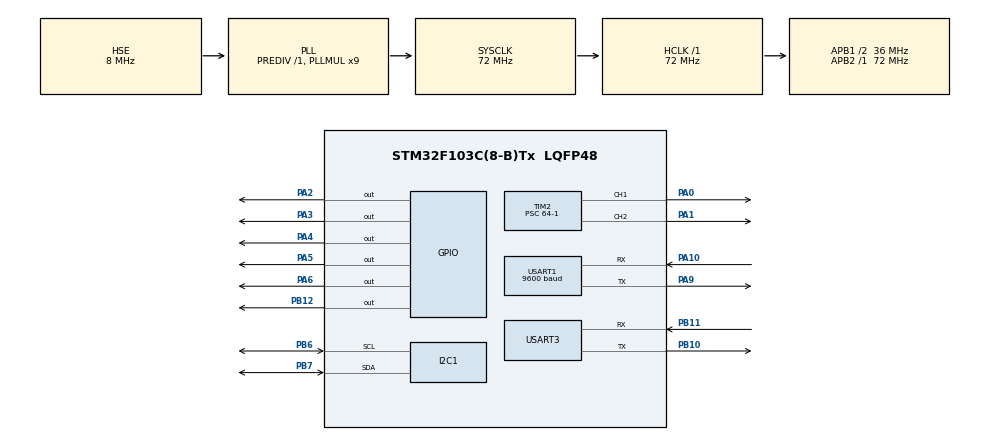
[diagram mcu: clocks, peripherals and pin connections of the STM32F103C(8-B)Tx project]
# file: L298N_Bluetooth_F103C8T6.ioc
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Dma.Request0=USART3_RX
Dma.USART3_RX.0.Direction=DMA_PERIPH_TO_MEMORY
Dma.USART3_RX.0.Instance=DMA1_Channel3
Dma.USART3_RX.0.MemDataAlignment=DMA_MDATAALIGN_BYTE
Dma.USART3_RX.0.MemInc=DMA_MINC_ENABLE
Dma.USART3_RX.0.Mode=DMA_CIRCULAR
Dma.USART3_RX.0.PeriphDataAlignment=DMA_PDATAALIGN_BYTE
Dma.USART3_RX.0.PeriphInc=DMA_PINC_DISABLE
Dma.USART3_RX.0.Priority=DMA_PRIORITY_LOW
Mcu.Family=STM32F1
Mcu.Name=STM32F103C(8-B)Tx
Mcu.Package=LQFP48
NVIC.DMA1_Channel3_IRQn=true\:0\:0\:false\:false\:true\:false\:true\:true
NVIC.PriorityGroup=NVIC_PRIORITYGROUP_4
NVIC.USART1_IRQn=true\:0\:0\:false\:false\:true\:true\:true\:true
PA0-WKUP.Signal=S_TIM2_CH1_ETR
PA1.Signal=S_TIM2_CH2
PA10.Mode=Asynchronous
PA10.Signal=USART1_RX
PA2.Signal=GPIO_Output
PA3.Signal=GPIO_Output
PA4.Signal=GPIO_Output
PA5.Signal=GPIO_Output
PA6.Signal=GPIO_Output
PA9.Mode=Asynchronous
PA9.Signal=USART1_TX
PB10.Mode=Asynchronous
PB10.Signal=USART3_TX
PB11.Mode=Asynchronous
PB11.Signal=USART3_RX
PB12.Signal=GPIO_Output
PB6.Mode=I2C
PB6.Signal=I2C1_SCL
PB7.Mode=I2C
PB7.Signal=I2C1_SDA
PD0-OSC_IN.Mode=HSE-External-Oscillator
PD0-OSC_IN.Signal=RCC_OSC_IN
PD1-OSC_OUT.Mode=HSE-External-Oscillator
PD1-OSC_OUT.Signal=RCC_OSC_OUT
ProjectManager.HeapSize=0x200
ProjectManager.StackSize=0x400
ProjectManager.TargetToolchain=MDK-ARM V5.32
RCC.AHBFreq_Value=72000000
RCC.APB1CLKDivider=RCC_HCLK_DIV2
RCC.APB1Freq_Value=36000000
RCC.APB1TimFreq_Value=72000000
RCC.APB2Freq_Value=72000000
RCC.APB2TimFreq_Value=72000000
RCC.HCLKFreq_Value=72000000
RCC.PLLMUL=RCC_PLL_MUL9
RCC.PLLSourceVirtual=RCC_PLLSOURCE_HSE
RCC.SYSCLKFreq_VALUE=72000000
RCC.SYSCLKSource=RCC_SYSCLKSOURCE_PLLCLK
RCC.USBFreq_Value=72000000
SH.S_TIM2_CH1_ETR.0=TIM2_CH1,PWM Generation1 CH1
SH.S_TIM2_CH2.0=TIM2_CH2,PWM Generation2 CH2
TIM2.Channel-PWM\ Generation1\ CH1=TIM_CHANNEL_1
TIM2.Channel-PWM\ Generation2\ CH2=TIM_CHANNEL_2
TIM2.Period=500-1
TIM2.Prescaler=64-1
USART1.BaudRate=9600
USART1.VirtualMode=VM_ASYNC
USART3.VirtualMode=VM_ASYNC
VP_SYS_VS_ND.Mode=No_Debug
VP_TIM2_VS_ClockSourceINT.Mode=Internal
board=custom

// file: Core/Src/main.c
/* USER CODE BEGIN Header */
/**
  ******************************************************************************
  * @file           : main.c
  * @brief          : Main program body
  ******************************************************************************
  * @attention
  *
  * Copyright (c) 2022 STMicroelectronics.
  * All rights reserved.
  *
  * This software is licensed under terms that can be found in the LICENSE file
  * in the root directory of this software component.
  * If no LICENSE file comes with this software, it is provided AS-IS.
  *
  ******************************************************************************
  */
/* USER CODE END Header */
#include "main.h"

/* USER CODE BEGIN Includes */
#include "lcd16x2_i2c.h"
#include "Fuzzy.h"
#include "Ping_driver.h"
#include "DWT_Delay.h"
#include "L298N_driver.h"
/* USER CODE END Includes */

I2C_HandleTypeDef hi2c1;

TIM_HandleTypeDef htim2;

UART_HandleTypeDef huart1;
UART_HandleTypeDef huart3;
DMA_HandleTypeDef hdma_usart3_rx;

void SystemClock_Config(void);
static void MX_GPIO_Init(void);
static void MX_DMA_Init(void);
static void MX_TIM2_Init(void);
static void MX_USART1_UART_Init(void);
static void MX_USART3_UART_Init(void);
static void MX_I2C1_Init(void);

/* USER CODE BEGIN 0 */

// UART variable
uint8_t rxBuf[1] = {0};
uint8_t data[1] = {0};

// L298N Variable
car_t car;
obstacle_t obs;

// Value PING
double depan, kanan, kiri, value;
Ping_t ping_depan;
Ping_t ping_kanan;
Ping_t ping_kiri;

// Fuzzy
Fuzzy_input_t input_fuzzy;
Fuzzy_output_t output_fuzzy;
Fuzzy_fuzzyfication_t fuz_fic_input;
Fuzzy_fuzzyfication_t fuz_fic_output;
Fuzzy_defuz_t defuzA;
Fuzzy_defuz_t defuzB;
double res_kanan, res_kiri;
bool isKanan = false, isKiri = false;

// UART CALLBACK
void HAL_UART_RxCpltCallback(UART_HandleTypeDef *huart)
{
	if(huart->Instance == USART1){
		if(rxBuf[0] == 'G'){

		}
		else if(rxBuf[0] == 'H'){

		}
		else if(rxBuf[0] == 'I'){

		}
		else if(rxBuf[0] == 'Y'){
			car.tim = &htim2;
			isKanan = true;
			isKiri= false;
		}
		else if(rxBuf[0] == 'X'){
			car.tim = &htim2;
			isKanan = false;
			isKiri = true;
		}
		else if(rxBuf[0] == 'J'){
			NVIC_SystemReset();
			Stopper_run(car);
			HAL_TIM_PWM_Stop(car.tim, TIM_CHANNEL_1);
		}
	}

	HAL_GPIO_TogglePin(GPIOB, GPIO_PIN_12);
  HAL_UART_Receive_IT(&huart1, rxBuf, 1 );
//	HAL_UART_Receive_DMA(&huart3, data, 1 );
}

/* USER CODE END 0 */

int main(void)
{

  /* MCU Configuration--------------------------------------------------------*/

  /* Reset of all peripherals, Initializes the Flash interface and the Systick. */
  HAL_Init();

  /* Configure the system clock */
  SystemClock_Config();

  /* Initialize all configured peripherals */
  MX_GPIO_Init();
  MX_DMA_Init();
  MX_TIM2_Init();
  MX_USART1_UART_Init();
  MX_USART3_UART_Init();
  MX_I2C1_Init();
  /* USER CODE BEGIN 2 */
	//-------------------------------------------- LCD -----------------------------------------------------
	if(lcd16x2_i2c_init(&hi2c1)){
		lcd16x2_i2c_clear();
		lcd16x2_i2c_1stLine();
		lcd16x2_i2c_printf("Baracuda");
	}

	//--------------------------------------- KONFIGURASI PING ---------------------------------------------
	DWT_Delay_Init();
	ping_depan.PING_PORT = GPIOA;
	ping_depan.PING_PIN = GPIO_PIN_7;
	ping_kanan.PING_PORT = GPIOA;
	ping_kanan.PING_PIN = GPIO_PIN_6;
	ping_kiri.PING_PORT = GPIOB;
	ping_kiri.PING_PIN = GPIO_PIN_0;

	//--------------------------------------- KONFIGURASI L298N --------------------------------------------

	car.tim_numA = TIM2;
	car.tim_numB = TIM2;
	car.channelA = 1;
	car.channelB = 2;
	HAL_UART_Receive_IT(&huart1, rxBuf, 1);

	//---------------------------------------- Fuzzy ---------------------------------------------------------
	fuzzy_set_membership_input(&input_fuzzy, 3, 8, 13);
	fuzzy_set_membership_output(&output_fuzzy, -25, 0, 25);

	// ----------------------- TEST -----------------------------------------------
  /* USER CODE END 2 */

  /* Infinite loop */
  /* USER CODE BEGIN WHILE */
   while (1)
  {
		// ----------------------- LCD -----------------------------------------------
		if(!isKanan && !isKiri){
			lcd16x2_i2c_clear();
			lcd16x2_i2c_1stLine();
		}
		else if(isKanan){
			lcd16x2_i2c_clear();
			lcd16x2_i2c_1stLine();
			lcd16x2_i2c_printf("State Kanan");
		}
		else if(isKiri){
			lcd16x2_i2c_clear();
			lcd16x2_i2c_1stLine();
			lcd16x2_i2c_printf("State Kiri");
		}
		else{
			lcd16x2_i2c_clear();
			lcd16x2_i2c_1stLine();
			lcd16x2_i2c_printf("NO STATE!");
		}

		// ---------------------- GET VALUE OF PING -----------------------------------
		kanan = ping_read(ping_kanan);
		kiri = ping_read(ping_kiri);
		depan = ping_read(ping_depan);
		HAL_Delay(70);

		//------------------------- Fuzzy ---------------------------------------------
		fuzzy_fuzfication_input(&input_fuzzy, &fuz_fic_input, kanan);
		fuzzy_logic_rule(&output_fuzzy, &fuz_fic_input, &defuzA, FUZZY_MIN_TO_MAX);
		res_kanan = fuzzy_defuz(&defuzA,&fuz_fic_input);
		fuzzy_fuzfication_input(&input_fuzzy, &fuz_fic_input, kiri);
		fuzzy_logic_rule(&output_fuzzy, &fuz_fic_input, &defuzA, FUZZY_MIN_TO_MAX);
		res_kiri = fuzzy_defuz(&defuzA,&fuz_fic_input);

		// ---------------------- Control the steering --------------------------------
		if(depan < 10){
			Run_Stop();
			Run_Mundur_Speed(car, 40);
			HAL_Delay(500);
			Rotate_Kiri(car, 80);
			HAL_Delay(800);
			Run_Maju_Speed(car, 40);
		}
		// State Kanan
		else if((res_kanan > 0) && isKanan){
			// Ke Kiri
			Run_Maju_Speed_Manual(car, 40 - res_kanan , 40 + res_kanan);
		}
		else if((res_kanan < 0) && isKanan){
			// Ke Kanan
			Run_Maju_Speed_Manual(car, 40 + (res_kanan*-1) , 40 - (res_kanan*-1));
		}
		// State Kiri
		else if((res_kiri > 0) && isKiri){
			// Ke Kanan
			Run_Maju_Speed_Manual(car, 40 + (res_kiri*-1) , 40 - (res_kiri*-1));
		}
		else if((res_kiri < 0) && isKiri){
			// Ke Kiri
			Run_Maju_Speed_Manual(car, 40 - res_kiri , 40 + res_kiri);
		}
		else Run_Maju_Speed_Manual(car, 40, 40);

    /* USER CODE END WHILE */

  }
}

void SystemClock_Config(void)
{
  RCC_OscInitTypeDef RCC_OscInitStruct = {0};
  RCC_ClkInitTypeDef RCC_ClkInitStruct = {0};

  /** Initializes the RCC Oscillators according to the specified parameters
  * in the RCC_OscInitTypeDef structure.
  */
  RCC_OscInitStruct.OscillatorType = RCC_OSCILLATORTYPE_HSE;
  RCC_OscInitStruct.HSEState = RCC_HSE_ON;
  RCC_OscInitStruct.HSEPredivValue = RCC_HSE_PREDIV_DIV1;
  RCC_OscInitStruct.HSIState = RCC_HSI_ON;
  RCC_OscInitStruct.PLL.PLLState = RCC_PLL_ON;
  RCC_OscInitStruct.PLL.PLLSource = RCC_PLLSOURCE_HSE;
  RCC_OscInitStruct.PLL.PLLMUL = RCC_PLL_MUL9;
  if (HAL_RCC_OscConfig(&RCC_OscInitStruct) != HAL_OK)
  {
    Error_Handler();
  }

  /** Initializes the CPU, AHB and APB buses clocks
  */
  RCC_ClkInitStruct.ClockType = RCC_CLOCKTYPE_HCLK|RCC_CLOCKTYPE_SYSCLK
                              |RCC_CLOCKTYPE_PCLK1|RCC_CLOCKTYPE_PCLK2;
  RCC_ClkInitStruct.SYSCLKSource = RCC_SYSCLKSOURCE_PLLCLK;
  RCC_ClkInitStruct.AHBCLKDivider = RCC_SYSCLK_DIV1;
  RCC_ClkInitStruct.APB1CLKDivider = RCC_HCLK_DIV2;
  RCC_ClkInitStruct.APB2CLKDivider = RCC_HCLK_DIV1;

  if (HAL_RCC_ClockConfig(&RCC_ClkInitStruct, FLASH_LATENCY_2) != HAL_OK)
  {
    Error_Handler();
  }
}

static void MX_I2C1_Init(void)
{

  hi2c1.Instance = I2C1;
  hi2c1.Init.ClockSpeed = 100000;
  hi2c1.Init.DutyCycle = I2C_DUTYCYCLE_2;
  hi2c1.Init.OwnAddress1 = 0;
  hi2c1.Init.AddressingMode = I2C_ADDRESSINGMODE_7BIT;
  hi2c1.Init.DualAddressMode = I2C_DUALADDRESS_DISABLE;
  hi2c1.Init.OwnAddress2 = 0;
  hi2c1.Init.GeneralCallMode = I2C_GENERALCALL_DISABLE;
  hi2c1.Init.NoStretchMode = I2C_NOSTRETCH_DISABLE;
  if (HAL_I2C_Init(&hi2c1) != HAL_OK)
  {
    Error_Handler();
  }

}

static void MX_TIM2_Init(void)
{

  TIM_ClockConfigTypeDef sClockSourceConfig = {0};
  TIM_MasterConfigTypeDef sMasterConfig = {0};
  TIM_OC_InitTypeDef sConfigOC = {0};

  htim2.Instance = TIM2;
  htim2.Init.Prescaler = 64-1;
  htim2.Init.CounterMode = TIM_COUNTERMODE_UP;
  htim2.Init.Period = 500-1;
  htim2.Init.ClockDivision = TIM_CLOCKDIVISION_DIV1;
  htim2.Init.AutoReloadPreload = TIM_AUTORELOAD_PRELOAD_DISABLE;
  if (HAL_TIM_Base_Init(&htim2) != HAL_OK)
  {
    Error_Handler();
  }
  sClockSourceConfig.ClockSource = TIM_CLOCKSOURCE_INTERNAL;
  if (HAL_TIM_ConfigClockSource(&htim2, &sClockSourceConfig) != HAL_OK)
  {
    Error_Handler();
  }
  if (HAL_TIM_PWM_Init(&htim2) != HAL_OK)
  {
    Error_Handler();
  }
  sMasterConfig.MasterOutputTrigger = TIM_TRGO_RESET;
  sMasterConfig.MasterSlaveMode = TIM_MASTERSLAVEMODE_DISABLE;
  if (HAL_TIMEx_MasterConfigSynchronization(&htim2, &sMasterConfig) != HAL_OK)
  {
    Error_Handler();
  }
  sConfigOC.OCMode = TIM_OCMODE_PWM1;
  sConfigOC.Pulse = 0;
  sConfigOC.OCPolarity = TIM_OCPOLARITY_HIGH;
  sConfigOC.OCFastMode = TIM_OCFAST_DISABLE;
  if (HAL_TIM_PWM_ConfigChannel(&htim2, &sConfigOC, TIM_CHANNEL_1) != HAL_OK)
  {
    Error_Handler();
  }
  if (HAL_TIM_PWM_ConfigChannel(&htim2, &sConfigOC, TIM_CHANNEL_2) != HAL_OK)
  {
    Error_Handler();
  }
  HAL_TIM_MspPostInit(&htim2);

}

static void MX_USART1_UART_Init(void)
{

  huart1.Instance = USART1;
  huart1.Init.BaudRate = 9600;
  huart1.Init.WordLength = UART_WORDLENGTH_8B;
  huart1.Init.StopBits = UART_STOPBITS_1;
  huart1.Init.Parity = UART_PARITY_NONE;
  huart1.Init.Mode = UART_MODE_TX_RX;
  huart1.Init.HwFlowCtl = UART_HWCONTROL_NONE;
  huart1.Init.OverSampling = UART_OVERSAMPLING_16;
  if (HAL_UART_Init(&huart1) != HAL_OK)
  {
    Error_Handler();
  }

}

static void MX_USART3_UART_Init(void)
{

  huart3.Instance = USART3;
  huart3.Init.BaudRate = 115200;
  huart3.Init.WordLength = UART_WORDLENGTH_8B;
  huart3.Init.StopBits = UART_STOPBITS_1;
  huart3.Init.Parity = UART_PARITY_NONE;
  huart3.Init.Mode = UART_MODE_TX_RX;
  huart3.Init.HwFlowCtl = UART_HWCONTROL_NONE;
  huart3.Init.OverSampling = UART_OVERSAMPLING_16;
  if (HAL_UART_Init(&huart3) != HAL_OK)
  {
    Error_Handler();
  }

}

static void MX_DMA_Init(void)
{

  /* DMA controller clock enable */
  __HAL_RCC_DMA1_CLK_ENABLE();

  /* DMA interrupt init */
  /* DMA1_Channel3_IRQn interrupt configuration */
  HAL_NVIC_SetPriority(DMA1_Channel3_IRQn, 0, 0);
  HAL_NVIC_EnableIRQ(DMA1_Channel3_IRQn);

}

static void MX_GPIO_Init(void)
{
  GPIO_InitTypeDef GPIO_InitStruct = {0};

  /* GPIO Ports Clock Enable */
  __HAL_RCC_GPIOD_CLK_ENABLE();
  __HAL_RCC_GPIOA_CLK_ENABLE();
  __HAL_RCC_GPIOB_CLK_ENABLE();

  /*Configure GPIO pin Output Level */
  HAL_GPIO_WritePin(GPIOA, GPIO_PIN_2|GPIO_PIN_3|GPIO_PIN_4|GPIO_PIN_5
                          |GPIO_PIN_6, GPIO_PIN_RESET);

  /*Configure GPIO pin Output Level */
  HAL_GPIO_WritePin(GPIOB, GPIO_PIN_12, GPIO_PIN_RESET);

  /*Configure GPIO pins : PA2 PA3 PA4 PA5
                           PA6 */
  GPIO_InitStruct.Pin = GPIO_PIN_2|GPIO_PIN_3|GPIO_PIN_4|GPIO_PIN_5
                          |GPIO_PIN_6;
  GPIO_InitStruct.Mode = GPIO_MODE_OUTPUT_PP;
  GPIO_InitStruct.Pull = GPIO_NOPULL;
  GPIO_InitStruct.Speed = GPIO_SPEED_FREQ_LOW;
  HAL_GPIO_Init(GPIOA, &GPIO_InitStruct);

  /*Configure GPIO pin : PB12 */
  GPIO_InitStruct.Pin = GPIO_PIN_12;
  GPIO_InitStruct.Mode = GPIO_MODE_OUTPUT_PP;
  GPIO_InitStruct.Pull = GPIO_NOPULL;
  GPIO_InitStruct.Speed = GPIO_SPEED_FREQ_LOW;
  HAL_GPIO_Init(GPIOB, &GPIO_InitStruct);

}

void Error_Handler(void)
{
  __disable_irq();
  while (1)
  {
  }
}
